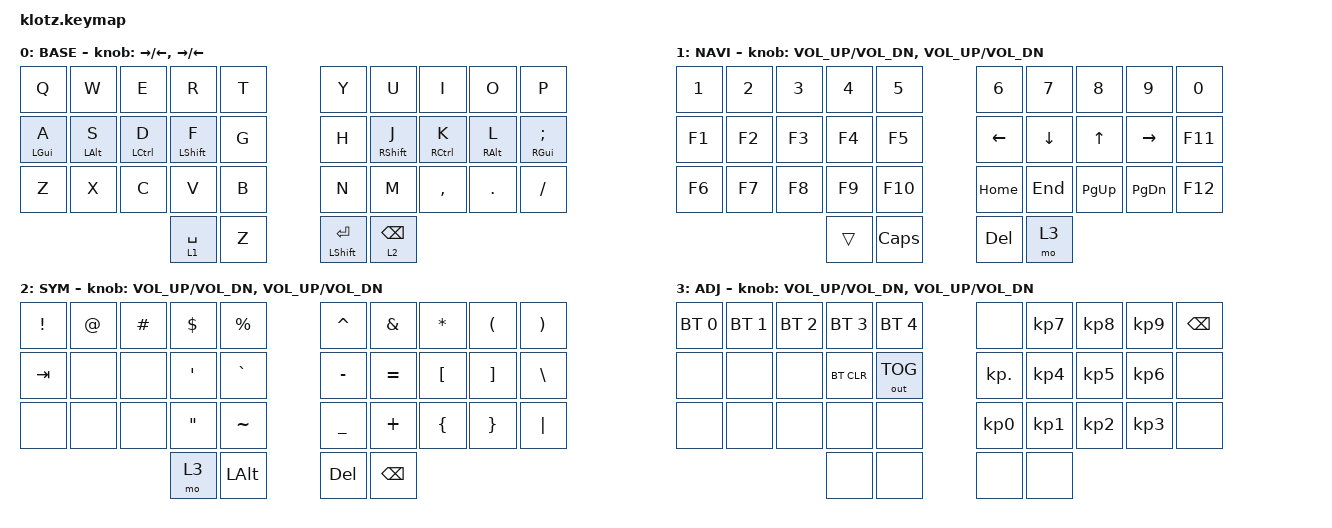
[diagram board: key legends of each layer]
//                                      █         ██        ▄▀▀▀▀▀▀▀▀▀▀█▀▀▀▀▀▀▀▀█▀▀▀▀▀▀▀▀▀▀█
//                                      █        █ █      ▄▀            ▀▄      █         █
//                                      █       █  █    ▄▀                ▀▄    █        █
//                                      █      █   █   █                    █   █       █
//                                      █     █    █   █                    █   █      █
//                                      █    █     █   █                    █   █  ▀▀▀█▀▀▀▀
//                                      █   █ █    █   █                    █   █    █
//                                      █  █   █   █   █                    █   █   █
//                                      █ █     █  █    ▀▄                ▄▀    █  █
//                                      ██       █ █      ▀▄            ▄▀      █ █
//                                      █         ██▄▄▄▄▄▄▄▄█▄▄▄▄▄▄▄▄▄▄▀        ██▄▄▄▄▄▄▄▄▄▄
//
// ▄▄▄▄▄▄▄▄▄▄▄▄▄▄▄▄▄▄▄▄▄▄▄▄▄▄▄▄▄▄▄▄▄▄▄▄▄▄▄▄▄▄▄▄▄▄▄▄▄▄▄▄▄▄▄▄▄▄▄▄▄▄▄▄▄▄▄▄▄▄▄▄▄▄▄▄▄▄▄▄▄▄▄▄▄▄▄▄▄▄▄▄▄▄▄▄▄▄▄▄▄▄▄▄▄▄▄▄▄▄▄▄▄▄▄▄▄▄▄▄▄▄▄▄▄

#include <behaviors.dtsi>
#include <dt-bindings/zmk/bt.h>
#include <dt-bindings/zmk/keys.h>
#include <dt-bindings/zmk/outputs.h>

/ {
    behaviors {
//        rot_kp: sensor_rotate_kp {
//            compatible = "zmk,behavior-sensor-rotate-var";
//            #sensor-binding-cells = <2>;
//            bindings = <&kp>, <&kp>;
//        }
        tab_esc_ctrl: tab_esc_ctrl {
            compatible = "zmk,behavior-tap-dance";
            label = "TAB_ESC_CTRL";
            #binding-cells = <0>;
            bindings =
                <&mt LCTRL ESC>,
                <&kp TAB>;
        };
        gqt: global-quick-tap {
            compatible = "zmk,behavior-hold-tap";
            label = "GLOBAL_QUICK_TAP";
            bindings =
                <&kp>,
                <&kp>;

            #binding-cells = <2>;
            quick-tap-ms = <200>;
            tapping-term-ms = <250>;
            global-quick-tap;
        };
        ltq: ltq {
            compatible = "zmk,behavior-hold-tap";
            label = "LTQ";
            bindings =
                <&mo>,
                <&kp>;

            #binding-cells = <2>;
            tapping-term-ms = <250>;
            global-quick-tap;
            quick-tap-ms = <200>;
        };
    };

    combos {
        compatible = "zmk,combos";

        left_parenthesis {
            bindings = <&kp LEFT_PARENTHESIS>;
            key-positions = <3 4>;
            timeout-ms = <50>;
        };

        right_parenthesis {
            bindings = <&kp RIGHT_PARENTHESIS>;
            key-positions = <5 6>;
            timeout-ms = <50>;
        };

        left_bracket {
            bindings = <&kp LEFT_BRACKET>;
            key-positions = <13 14>;
            timeout-ms = <50>;
        };

        right_bracket {
            bindings = <&kp RIGHT_BRACKET>;
            key-positions = <16 15>;
            timeout-ms = <50>;
        };

        left_brace {
            bindings = <&kp LEFT_BRACE>;
            key-positions = <23 24>;
            timeout-ms = <50>;
        };

        new_combo {
            bindings = <&kp RIGHT_BRACE>;
            key-positions = <25 26>;
            timeout-ms = <50>;
        };
    };

    keymap {
        compatible = "zmk,keymap";

        // ▄▄▄▄▄▄▄▄▄▄▄▄▄▄▄▄▄▄▄▄▄▄▄▄▄▄▄▄▄▄▄▄▄▄▄▄▄▄▄▄▄▄▄▄▄▄▄▄▄▄▄▄▄▄▄▄▄▄▄▄▄▄▄▄▄▄▄▄▄▄▄▄▄▄▄▄▄▄▄▄▄▄▄▄▄▄▄▄▄▄▄▄▄▄▄▄▄▄▄▄▄▄▄▄▄▄▄▄▄▄▄▄▄▄▄▄▄▄▄▄▄▄▄▄▄

        base_layer {
            // ┏━━━━━━━━━━━━━━━━━━━━━━━━━━━━━━━━━━━━━━━┓

            label = "BASE";

            // ┗━━━━━━━━━━━━━━━━━━━━━━━━━━━━━━━━━━━━━━━┛
            // ┏━━━━━━━━━━━┳━━━━━━━━━━━┳━━━━━━━━━━━┳━━━━━━━━━━━┳━━━━━━━━━━━┓   ┏━━━━━━━━━━━┳━━━━━━━━━━━┳━━━━━━━━━━━┳━━━━━━━━━━━┳━━━━━━━━━━━┓
            // ┃     Q     ┃     W     ┃     E     ┃     R     ┃     T     ┃   ┃     Y     ┃     U     ┃     I     ┃     O     ┃     P     ┃
            // ┣━━━━━━━━━━━╋━━━━━━━━━━━╋━━━━━━━━━━━╋━━━━━━━━━━━╋━━━━━━━━━━━┫   ┣━━━━━━━━━━━╋━━━━━━━━━━━╋━━━━━━━━━━━╋━━━━━━━━━━━╋━━━━━━━━━━━┫
            // ┃     A     ┃     S     ┃     D     ┃     F     ┃     G     ┃   ┃     H     ┃     J     ┃     K     ┃     L     ┃     ;     ┃
            // ┣━━━━━━━━━━━╋━━━━━━━━━━━╋━━━━━━━━━━━╋━━━━━━━━━━━╋━━━━━━━━━━━┫   ┣━━━━━━━━━━━╋━━━━━━━━━━━╋━━━━━━━━━━━╋━━━━━━━━━━━╋━━━━━━━━━━━┫
            // ┃     Z     ┃     X     ┃     C     ┃     V     ┃     B     ┃   ┃     N     ┃     M     ┃     ,     ┃     .     ┃     /     ┃
            // ┗━━━━━━━━━━━┻━━━━━━━━━━━┻━━━━━━━━━━━╋━━━━━━━━━━━╋━━━━━━━━━━━┫   ┣━━━━━━━━━━━╋━━━━━━━━━━━╋━━━━━━━━━━━┻━━━━━━━━━━━┻━━━━━━━━━━━┛
            //                                     ┃    TAB    ┃    SPC    ┃   ┃   ENTER   ┃   BSPC    ┃
            //                                     ┗━━━━━━━━━━━┻━━━━━━━━━━━┛   ┗━━━━━━━━━━━┻━━━━━━━━━━━┛

            bindings = <
&kp Q        &kp W        &kp E         &kp R         &kp T          &kp Y             &kp U             &kp I         &kp O        &kp P
&gqt LGUI A  &gqt LALT S  &gqt LCTRL D  &gqt LSHFT F  &kp G          &kp H             &gqt RSHFT J      &gqt RCTRL K  &gqt RALT L  &gqt RGUI SEMI
&kp Z        &kp X        &kp C         &kp V         &kp B          &kp N             &kp M             &kp COMMA     &kp DOT      &kp FSLH
                                        &ltq 1 SPACE  &kp Z  &mt LSHIFT ENTER  &ltq 2 BACKSPACE
            >;

            sensor-bindings = <&inc_dec_kp RIGHT LEFT &inc_dec_kp RIGHT LEFT >;
        };

        // ▄▄▄▄▄▄▄▄▄▄▄▄▄▄▄▄▄▄▄▄▄▄▄▄▄▄▄▄▄▄▄▄▄▄▄▄▄▄▄▄▄▄▄▄▄▄▄▄▄▄▄▄▄▄▄▄▄▄▄▄▄▄▄▄▄▄▄▄▄▄▄▄▄▄▄▄▄▄▄▄▄▄▄▄▄▄▄▄▄▄▄▄▄▄▄▄▄▄▄▄▄▄▄▄▄▄▄▄▄▄▄▄▄▄▄▄▄▄▄▄▄▄▄▄▄

        nav_layer {
            // ┏━━━━━━━━━━━━━━━━━━━━━━━━━━━━━━━━━━━━━━━┓

            label = "NAVI";

            // ┗━━━━━━━━━━━━━━━━━━━━━━━━━━━━━━━━━━━━━━━┛
            // ┏━━━━━━━━━━━┳━━━━━━━━━━━┳━━━━━━━━━━━┳━━━━━━━━━━━┳━━━━━━━━━━━┓   ┏━━━━━━━━━━━┳━━━━━━━━━━━┳━━━━━━━━━━━┳━━━━━━━━━━━┳━━━━━━━━━━━┓
            // ┃           ┃           ┃     UP    ┃           ┃     {     ┃   ┃     }     ┃     7     ┃     8     ┃     9     ┃     +     ┃
            // ┣━━━━━━━━━━━╋━━━━━━━━━━━╋━━━━━━━━━━━╋━━━━━━━━━━━╋━━━━━━━━━━━┫   ┣━━━━━━━━━━━╋━━━━━━━━━━━╋━━━━━━━━━━━╋━━━━━━━━━━━╋━━━━━━━━━━━┫
            // ┃   SHIFT   ┃   LEFT    ┃    DOWN   ┃   RIGHT   ┃     [     ┃   ┃     ]     ┃     4     ┃     5     ┃     6     ┃     -     ┃
            // ┣━━━━━━━━━━━╋━━━━━━━━━━━╋━━━━━━━━━━━╋━━━━━━━━━━━╋━━━━━━━━━━━┫   ┣━━━━━━━━━━━╋━━━━━━━━━━━╋━━━━━━━━━━━╋━━━━━━━━━━━╋━━━━━━━━━━━┫
            // ┃           ┃   P UP    ┃  C LOCK   ┃  P DOWN   ┃     (     ┃   ┃     )     ┃     1     ┃     2     ┃     3     ┃     *     ┃
            // ┗━━━━━━━━━━━┻━━━━━━━━━━━┻━━━━━━━━━━━╋━━━━━━━━━━━╋━━━━━━━━━━━┫   ┣━━━━━━━━━━━╋━━━━━━━━━━━╋━━━━━━━━━━━┻━━━━━━━━━━━┻━━━━━━━━━━━┛
            //                                     ┃           ┃           ┃   ┃    DEL    ┃     0     ┃  
            //                                     ┗━━━━━━━━━━━┻━━━━━━━━━━━┛   ┗━━━━━━━━━━━┻━━━━━━━━━━━┛

            bindings = <
&kp N1  &kp N2  &kp N3  &kp N4  &kp N5    &kp N6    &kp N7    &kp N8     &kp N9     &kp N0
&kp F1  &kp F2  &kp F3  &kp F4  &kp F5    &kp LEFT  &kp DOWN  &kp UP     &kp RIGHT  &kp F11
&kp F6  &kp F7  &kp F8  &kp F9  &kp F10   &kp HOME  &kp END   &kp PG_UP  &kp PG_DN  &kp F12
                        &trans  &kp CAPS  &kp DEL   &mo 3
            >;

            sensor-bindings = <&inc_dec_kp C_VOL_UP C_VOL_DN &inc_dec_kp C_VOL_UP C_VOL_DN>;
        };

        // ▄▄▄▄▄▄▄▄▄▄▄▄▄▄▄▄▄▄▄▄▄▄▄▄▄▄▄▄▄▄▄▄▄▄▄▄▄▄▄▄▄▄▄▄▄▄▄▄▄▄▄▄▄▄▄▄▄▄▄▄▄▄▄▄▄▄▄▄▄▄▄▄▄▄▄▄▄▄▄▄▄▄▄▄▄▄▄▄▄▄▄▄▄▄▄▄▄▄▄▄▄▄▄▄▄▄▄▄▄▄▄▄▄▄▄▄▄▄▄▄▄▄▄▄▄

        sym_layer {
            // ┏━━━━━━━━━━━━━━━━━━━━━━━━━━━━━━━━━━━━━━━┓

            label = "SYM";

            // ┗━━━━━━━━━━━━━━━━━━━━━━━━━━━━━━━━━━━━━━━┛
            // ┏━━━━━━━━━━━┳━━━━━━━━━━━┳━━━━━━━━━━━┳━━━━━━━━━━━┳━━━━━━━━━━━┓   ┏━━━━━━━━━━━┳━━━━━━━━━━━┳━━━━━━━━━━━┳━━━━━━━━━━━┳━━━━━━━━━━━┓
            // ┃     !     ┃     @     ┃     #     ┃     $     ┃     %     ┃   ┃     ˆ     ┃     &     ┃     Ü     ┃     '     ┃     "     ┃
            // ┣━━━━━━━━━━━╋━━━━━━━━━━━╋━━━━━━━━━━━╋━━━━━━━━━━━╋━━━━━━━━━━━┫   ┣━━━━━━━━━━━╋━━━━━━━━━━━╋━━━━━━━━━━━╋━━━━━━━━━━━╋━━━━━━━━━━━┫
            // ┃     Ä     ┃           ┃    SZ     ┃           ┃           ┃   ┃   MUTE    ┃   YEN     ┃   EURO    ┃  POUND    ┃     Ö     ┃
            // ┣━━━━━━━━━━━╋━━━━━━━━━━━╋━━━━━━━━━━━╋━━━━━━━━━━━╋━━━━━━━━━━━┫   ┣━━━━━━━━━━━╋━━━━━━━━━━━╋━━━━━━━━━━━╋━━━━━━━━━━━╋━━━━━━━━━━━┫
            // ┃  EMAIL1   ┃  EMAIL2   ┃           ┃           ┃           ┃   ┃   VOL-    ┃   VOL+    ┃   LAST    ┃   NEXT    ┃     \     ┃
            // ┗━━━━━━━━━━━┻━━━━━━━━━━━┻━━━━━━━━━━━╋━━━━━━━━━━━╋━━━━━━━━━━━┫   ┣━━━━━━━━━━━╋━━━━━━━━━━━╋━━━━━━━━━━━┻━━━━━━━━━━━┻━━━━━━━━━━━┛
            //                                     ┃    GIF    ┃  ADJUST   ┃   ┃           ┃   PLAY    ┃   
            //                                     ┗━━━━━━━━━━━┻━━━━━━━━━━━┛   ┗━━━━━━━━━━━┻━━━━━━━━━━━┛

            bindings = <
&kp EXCL  &kp AT  &kp HASH  &kp DLLR           &kp PRCNT     &kp CARET  &kp AMPS       &kp STAR        &kp LEFT_PARENTHESIS  &kp RIGHT_PARENTHESIS
&kp TAB   &none   &none     &kp SQT            &kp GRAVE     &kp MINUS  &kp EQUAL      &kp LBKT        &kp RIGHT_BRACKET     &kp BSLH
&none     &none   &none     &kp DOUBLE_QUOTES  &kp TILDE     &kp UNDER  &kp PLUS       &kp LEFT_BRACE  &kp RIGHT_BRACE       &kp PIPE
                            &mo 3              &kp LEFT_ALT  &kp DEL    &kp BACKSPACE
            >;

            sensor-bindings = <&inc_dec_kp C_VOL_UP C_VOL_DN &inc_dec_kp C_VOL_UP C_VOL_DN>;
        };

        // ▄▄▄▄▄▄▄▄▄▄▄▄▄▄▄▄▄▄▄▄▄▄▄▄▄▄▄▄▄▄▄▄▄▄▄▄▄▄▄▄▄▄▄▄▄▄▄▄▄▄▄▄▄▄▄▄▄▄▄▄▄▄▄▄▄▄▄▄▄▄▄▄▄▄▄▄▄▄▄▄▄▄▄▄▄▄▄▄▄▄▄▄▄▄▄▄▄▄▄▄▄▄▄▄▄▄▄▄▄▄▄▄▄▄▄▄▄▄▄▄▄▄▄▄▄

        adjust_layer {
            // ┏━━━━━━━━━━━━━━━━━━━━━━━━━━━━━━━━━━━━━━━┓

            label = "ADJ";

            // ┗━━━━━━━━━━━━━━━━━━━━━━━━━━━━━━━━━━━━━━━┛
            // ┏━━━━━━━━━━━┳━━━━━━━━━━━┳━━━━━━━━━━━┳━━━━━━━━━━━┳━━━━━━━━━━━┓   ┏━━━━━━━━━━━┳━━━━━━━━━━━┳━━━━━━━━━━━┳━━━━━━━━━━━┳━━━━━━━━━━━┓
            // ┃   RESET   ┃ BT CLEAR  ┃  OUT TOG  ┃           ┃           ┃   ┃           ┃    F7     ┃    F8     ┃    F9     ┃    F12    ┃
            // ┣━━━━━━━━━━━╋━━━━━━━━━━━╋━━━━━━━━━━━╋━━━━━━━━━━━╋━━━━━━━━━━━┫   ┣━━━━━━━━━━━╋━━━━━━━━━━━╋━━━━━━━━━━━╋━━━━━━━━━━━╋━━━━━━━━━━━┫
            // ┃ BOOTLOAD  ┃ BT NEXT   ┃           ┃           ┃           ┃   ┃           ┃    F4     ┃    F5     ┃    F6     ┃    F11    ┃
            // ┣━━━━━━━━━━━╋━━━━━━━━━━━╋━━━━━━━━━━━╋━━━━━━━━━━━╋━━━━━━━━━━━┫   ┣━━━━━━━━━━━╋━━━━━━━━━━━╋━━━━━━━━━━━╋━━━━━━━━━━━╋━━━━━━━━━━━┫
            // ┃           ┃ BT PREV   ┃           ┃           ┃           ┃   ┃           ┃    F1     ┃    F2     ┃    F3     ┃    F10    ┃
            // ┗━━━━━━━━━━━┻━━━━━━━━━━━┻━━━━━━━━━━━╋━━━━━━━━━━━╋━━━━━━━━━━━┫   ┣━━━━━━━━━━━╋━━━━━━━━━━━╋━━━━━━━━━━━┻━━━━━━━━━━━┻━━━━━━━━━━━┛
            //                                     ┃           ┃           ┃   ┃           ┃           ┃
            //                                     ┗━━━━━━━━━━━┻━━━━━━━━━━━┛   ┗━━━━━━━━━━━┻━━━━━━━━━━━┛

            bindings = <
&bt BT_SEL 0  &bt BT_SEL 1  &bt BT_SEL 2  &bt BT_SEL 3  &bt BT_SEL 4  &none            &kp KP_NUMBER_7  &kp KP_NUMBER_8  &kp KP_NUMBER_9  &kp BSPC
&none         &none         &none         &bt BT_CLR    &out OUT_TOG  &kp KP_DOT       &kp KP_NUMBER_4  &kp KP_NUMBER_5  &kp KP_NUMBER_6  &none
&none         &none         &none         &none         &none         &kp KP_NUMBER_0  &kp KP_N1        &kp KP_NUMBER_2  &kp KP_NUMBER_3  &none
                                          &none         &none         &none            &none
            >;

            sensor-bindings = <&inc_dec_kp C_VOL_UP C_VOL_DN &inc_dec_kp C_VOL_UP C_VOL_DN>;
        };

        // ▄▄▄▄▄▄▄▄▄▄▄▄▄▄▄▄▄▄▄▄▄▄▄▄▄▄▄▄▄▄▄▄▄▄▄▄▄▄▄▄▄▄▄▄▄▄▄▄▄▄▄▄▄▄▄▄▄▄▄▄▄▄▄▄▄▄▄▄▄▄▄▄▄▄▄▄▄▄▄▄▄▄▄▄▄▄▄▄▄▄▄▄▄▄▄▄▄▄▄▄▄▄▄▄▄▄▄▄▄▄▄▄▄▄▄▄▄▄▄▄▄▄▄▄▄
    };
};
